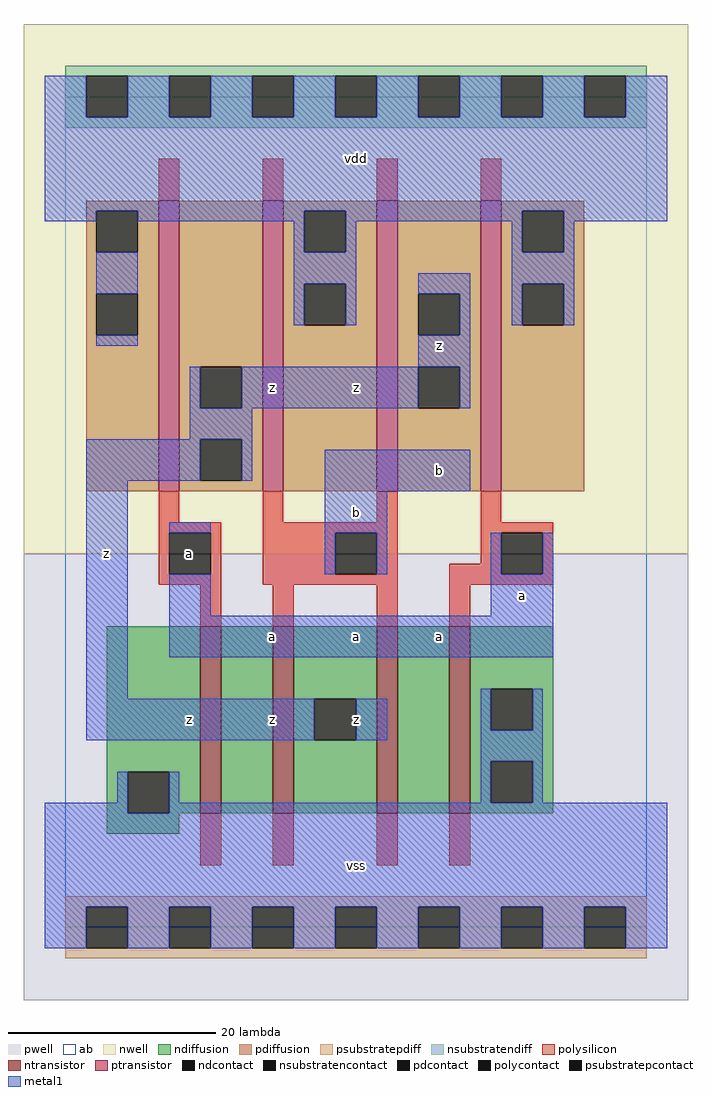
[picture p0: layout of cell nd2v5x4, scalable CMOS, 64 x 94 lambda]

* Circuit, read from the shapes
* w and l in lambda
.subckt nd2v5x4 a b vdd vss z
M1 n1 a vss vss nfet w=18 l=2
M2 z b n1 vss nfet w=18 l=2
M3 n2 b z vss nfet w=18 l=2
M4 vss a n2 vss nfet w=18 l=2
M5 z a vdd vdd pfet w=28 l=2 m=2
M6 vdd b z vdd pfet w=28 l=2 m=2
.ends

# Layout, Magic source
magic
tech scmos
<< ab >>
rect 0 0 56 80
<< pwell >>
rect -4 -7 60 36
<< nwell >>
rect -4 36 60 87
<< polysilicon >>
rect 9 70 11 74
rect 19 70 21 74
rect 30 70 32 74
rect 40 70 42 74
rect 9 39 11 42
rect 19 39 21 42
rect 30 39 32 42
rect 9 38 15 39
rect 9 34 10 38
rect 14 34 15 38
rect 9 33 15 34
rect 19 38 32 39
rect 19 34 26 38
rect 30 34 32 38
rect 40 39 42 42
rect 40 38 47 39
rect 40 35 42 38
rect 19 33 32 34
rect 13 29 15 33
rect 20 29 22 33
rect 30 29 32 33
rect 37 34 42 35
rect 46 34 47 38
rect 37 33 47 34
rect 37 29 39 33
rect 13 6 15 11
rect 20 6 22 11
rect 30 6 32 11
rect 37 6 39 11
<< ndiffusion >>
rect 4 15 13 29
rect 4 11 6 15
rect 10 11 13 15
rect 15 11 20 29
rect 22 22 30 29
rect 22 18 24 22
rect 28 18 30 22
rect 22 11 30 18
rect 32 11 37 29
rect 39 23 47 29
rect 39 19 41 23
rect 45 19 47 23
rect 39 16 47 19
rect 39 12 41 16
rect 45 12 47 16
rect 39 11 47 12
rect 4 9 11 11
<< pdiffusion >>
rect 2 69 9 70
rect 2 65 3 69
rect 7 65 9 69
rect 2 61 9 65
rect 2 57 3 61
rect 7 57 9 61
rect 2 42 9 57
rect 11 54 19 70
rect 11 50 13 54
rect 17 50 19 54
rect 11 47 19 50
rect 11 43 13 47
rect 17 43 19 47
rect 11 42 19 43
rect 21 69 30 70
rect 21 65 23 69
rect 27 65 30 69
rect 21 62 30 65
rect 21 58 23 62
rect 27 58 30 62
rect 21 42 30 58
rect 32 61 40 70
rect 32 57 34 61
rect 38 57 40 61
rect 32 54 40 57
rect 32 50 34 54
rect 38 50 40 54
rect 32 42 40 50
rect 42 69 50 70
rect 42 65 44 69
rect 48 65 50 69
rect 42 62 50 65
rect 42 58 44 62
rect 48 58 50 62
rect 42 42 50 58
<< metal1 >>
rect -2 78 2 82
rect 6 78 10 82
rect 14 78 18 82
rect 22 78 26 82
rect 30 78 34 82
rect 38 78 42 82
rect 46 78 50 82
rect 54 78 58 82
rect -2 69 58 78
rect -2 68 3 69
rect 7 68 23 69
rect 3 61 7 65
rect 22 65 23 68
rect 27 68 44 69
rect 27 65 28 68
rect 22 62 28 65
rect 43 65 44 68
rect 48 68 58 69
rect 48 65 49 68
rect 22 58 23 62
rect 27 58 28 62
rect 34 61 39 63
rect 3 56 7 57
rect 38 57 39 61
rect 43 62 49 65
rect 43 58 44 62
rect 48 58 49 62
rect 34 54 39 57
rect 12 50 13 54
rect 17 50 34 54
rect 38 50 39 54
rect 12 47 18 50
rect 2 43 13 47
rect 17 43 18 47
rect 2 22 6 43
rect 25 42 39 46
rect 10 38 14 39
rect 25 38 31 42
rect 25 34 26 38
rect 30 34 31 38
rect 41 34 42 38
rect 46 34 47 38
rect 10 30 14 34
rect 41 30 47 34
rect 10 26 47 30
rect 2 18 24 22
rect 28 18 31 22
rect 40 19 41 23
rect 45 19 46 23
rect 40 16 46 19
rect 5 12 6 15
rect -2 11 6 12
rect 10 12 11 15
rect 40 12 41 16
rect 45 12 46 16
rect 10 11 58 12
rect -2 2 58 11
rect -2 -2 2 2
rect 6 -2 10 2
rect 14 -2 18 2
rect 22 -2 26 2
rect 30 -2 34 2
rect 38 -2 42 2
rect 46 -2 50 2
rect 54 -2 58 2
<< ntransistor >>
rect 13 11 15 29
rect 20 11 22 29
rect 30 11 32 29
rect 37 11 39 29
<< ptransistor >>
rect 9 42 11 70
rect 19 42 21 70
rect 30 42 32 70
rect 40 42 42 70
<< polycontact >>
rect 10 34 14 38
rect 26 34 30 38
rect 42 34 46 38
<< ndcontact >>
rect 6 11 10 15
rect 24 18 28 22
rect 41 19 45 23
rect 41 12 45 16
<< pdcontact >>
rect 3 65 7 69
rect 3 57 7 61
rect 13 50 17 54
rect 13 43 17 47
rect 23 65 27 69
rect 23 58 27 62
rect 34 57 38 61
rect 34 50 38 54
rect 44 65 48 69
rect 44 58 48 62
<< psubstratepcontact >>
rect 2 -2 6 2
rect 10 -2 14 2
rect 18 -2 22 2
rect 26 -2 30 2
rect 34 -2 38 2
rect 42 -2 46 2
rect 50 -2 54 2
<< nsubstratencontact >>
rect 2 78 6 82
rect 10 78 14 82
rect 18 78 22 82
rect 26 78 30 82
rect 34 78 38 82
rect 42 78 46 82
rect 50 78 54 82
<< psubstratepdiff >>
rect 0 2 56 3
rect 0 -2 2 2
rect 6 -2 10 2
rect 14 -2 18 2
rect 22 -2 26 2
rect 30 -2 34 2
rect 38 -2 42 2
rect 46 -2 50 2
rect 54 -2 56 2
rect 0 -3 56 -2
<< nsubstratendiff >>
rect 0 82 56 83
rect 0 78 2 82
rect 6 78 10 82
rect 14 78 18 82
rect 22 78 26 82
rect 30 78 34 82
rect 38 78 42 82
rect 46 78 50 82
rect 54 78 56 82
rect 0 77 56 78
<< labels >>
rlabel metal1 4 36 4 36 6 z
rlabel metal1 12 20 12 20 6 z
rlabel polycontact 12 36 12 36 6 a
rlabel metal1 28 6 28 6 6 vss
rlabel metal1 20 20 20 20 6 z
rlabel metal1 20 28 20 28 6 a
rlabel metal1 28 28 28 28 6 a
rlabel metal1 28 20 28 20 6 z
rlabel metal1 28 40 28 40 6 b
rlabel metal1 28 52 28 52 6 z
rlabel metal1 20 52 20 52 6 z
rlabel metal1 28 74 28 74 6 vdd
rlabel metal1 36 28 36 28 6 a
rlabel metal1 44 32 44 32 6 a
rlabel metal1 36 44 36 44 6 b
rlabel metal1 36 56 36 56 6 z
<< end >>
